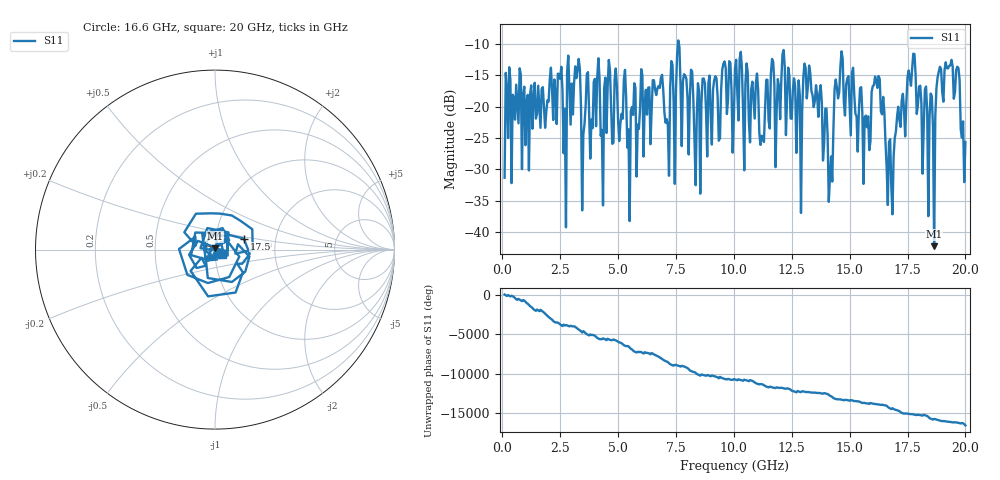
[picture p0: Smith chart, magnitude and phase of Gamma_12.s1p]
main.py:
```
"""
Author: Ziad (https://github.com/ZiadHatab)

Example on how to extract the switch terms of a VNA using 3-receiver VNA measurements.
"""

import os

# need to be installed via pip
import skrf as rf 
import numpy as np
import matplotlib.pyplot as plt

# my script (MultiCal.py and TUGmTRL must also be in same folder)
from mTRL import mTRL

class PlotSettings:
    # to make plots look better for publication
    # https://matplotlib.org/stable/tutorials/introductory/customizing.html
    def __init__(self, font_size=10, latex=False): 
        self.font_size = font_size 
        self.latex = latex
    def __enter__(self):
        plt.style.use('seaborn-v0_8-paper')
        # make svg output text and not curves
        plt.rcParams['svg.fonttype'] = 'none'
        # fontsize of the axes title
        plt.rc('axes', titlesize=self.font_size*1.2)
        # fontsize of the x and y labels
        plt.rc('axes', labelsize=self.font_size)
        # fontsize of the tick labels
        plt.rc('xtick', labelsize=self.font_size)
        plt.rc('ytick', labelsize=self.font_size)
        # legend fontsize
        plt.rc('legend', fontsize=self.font_size*1)
        # fontsize of the figure title
        plt.rc('figure', titlesize=self.font_size)
        # controls default text sizes
        plt.rc('text', usetex=self.latex)
        #plt.rc('font', size=self.font_size, family='serif', serif='Times New Roman')
        plt.rc('lines', linewidth=1.5)
    def __exit__(self, exception_type, exception_value, traceback):
        plt.style.use('default')

def compute_switch_terms(S):
    """
    S: is a list of skrf networks
    """
    Gamma21 = []  # forward switch term
    Gamma12 = []  # reverse switch term 
    for inx in range(len(S[0].frequency.f)): # iterate through all frequency points
        # create the system matrix
        H = np.array([ [-s.s[inx,0,0]*s.s[inx,0,1]/s.s[inx,1,0], -s.s[inx,1,1], 1, s.s[inx,0,1]/s.s[inx,1,0]] for s in S ])
        _,_,vh = np.linalg.svd(H)    # compute the SVD
        nullspace = vh[-1,:].conj()  # get the nullspace        
        Gamma21.append(nullspace[1]/nullspace[2])  # that is all
        Gamma12.append(nullspace[0]/nullspace[3])

    return np.array(Gamma21), np.array(Gamma12)

# main script
if __name__ == '__main__':
    # useful functions
    c0 = 299792458   # speed of light in vacuum (m/s)
    mag2db = lambda x: 20*np.log10(abs(x))
    db2mag = lambda x: 10**(x/20)
    gamma2ereff = lambda x,f: -(c0/2/np.pi/f*x)**2
    ereff2gamma = lambda x,f: 2*np.pi*f/c0*np.sqrt(-(x-1j*np.finfo(complex).eps))  # eps to ensure positive square-root
    gamma2dbcm  = lambda x: mag2db(np.exp(x.real*1e-2))  # losses dB/cm
    
    # load the measurements
    # files' path are reference to script's path
    path = os.path.dirname(os.path.realpath(__file__)) + '\\'
    s2p_path = path + 'Measurements\\'
    
    # switch terms directly measured from VNA (using the 4th receiver)
    Gamma_21_direct = rf.Network(s2p_path + 'Gamma_21.s1p')
    Gamma_12_direct = rf.Network(s2p_path + 'Gamma_12.s1p')
    
    # Calibration standards
    L1    = rf.Network(s2p_path + 'line_0_0mm.s2p')
    L2    = rf.Network(s2p_path + 'line_2_5mm.s2p')
    L3    = rf.Network(s2p_path + 'line_10_0mm.s2p')
    L4    = rf.Network(s2p_path + 'line_15_0mm.s2p')
    L5    = rf.Network(s2p_path + 'line_50_0mm.s2p')
    SHORT = rf.Network(s2p_path + 'short_0_0mm.s2p')
    
    DUT = rf.Network(s2p_path + 'step_line.s2p')
    f = DUT.frequency.f
    
    # switch terms indirectly measured
    stand1 = rf.Network(s2p_path + 'shunt_series.s2p')
    stand2 = rf.Network(s2p_path + 'series_shunt.s2p')
    myG21, myG12 = compute_switch_terms([stand1, stand2, L5])
    
    Gamma_21_indirect = rf.Network(s=myG21, frequency=L1.frequency)
    Gamma_12_indirect = rf.Network(s=myG12, frequency=L1.frequency)
    
    with PlotSettings(14):
        fig, axs = plt.subplots(2,2, figsize=(10,7))        
        fig.set_dpi(600)
        fig.tight_layout(pad=2.5)
        ax = axs[0,0]
        val = mag2db(Gamma_21_direct.s[:,0,0])
        ax.plot(f*1e-9, val, lw=2, marker='o', markevery=20, markersize=12,
                label='Direct measurement', linestyle='-')
        val = mag2db(Gamma_21_indirect.s[:,0,0])
        ax.plot(f*1e-9, val, lw=2, marker='X', markevery=20, markersize=10,
                label='Indirect measurement', linestyle='--')
        ax.set_xlabel('Frequency (GHz)')
        ax.set_xticks(np.arange(0,20.1,2))
        ax.set_xlim(0,14)
        ax.set_ylabel(r'$\Gamma_{21}$ (dB)')
        ax.set_yticks(np.arange(-40,0.1,10))
        ax.set_ylim(-40,0)
        ax.legend(loc='upper left', ncol=1, fontsize=12)
        
        ax = axs[0,1]
        val = mag2db(Gamma_12_direct.s[:,0,0])
        ax.plot(f*1e-9, val, lw=2, marker='o', markevery=20, markersize=12,
                label='Direct measurement', linestyle='-')
        val = mag2db(Gamma_12_indirect.s[:,0,0])
        ax.plot(f*1e-9, val, lw=2, marker='X', markevery=20, markersize=10,
                label='Indirect measurement', linestyle='--')
        ax.set_xlabel('Frequency (GHz)')
        ax.set_xticks(np.arange(0,20.1,2))
        ax.set_xlim(0,14)
        ax.set_ylabel(r'$\Gamma_{12}$ (dB)')
        ax.set_yticks(np.arange(-40,0.1,10))
        ax.set_ylim(-40,0)
        
        ax = axs[1,0]
        val = np.angle(Gamma_21_direct.s[:,0,0])/np.pi
        ax.plot(f*1e-9, val, lw=2, marker='o', markevery=20, markersize=12,
                label='Direct measurement', linestyle='-')
        val = np.angle(Gamma_21_indirect.s[:,0,0])/np.pi
        ax.plot(f*1e-9, val, lw=2, marker='X', markevery=20, markersize=10,
                label='Indirect measurement', linestyle='--')
        ax.set_xlabel('Frequency (GHz)')
        ax.set_xticks(np.arange(0,20.1,2))
        ax.set_xlim(0,14)
        ax.set_ylabel(r'$\Gamma_{21}$ (phase $\times \pi$ rad)')
        ax.set_ylim(-1,1)
        ax.set_yticks(np.arange(-1,1.1,0.4))
        
        ax = axs[1,1]
        val = np.angle(Gamma_12_direct.s[:,0,0])/np.pi
        ax.plot(f*1e-9, val, lw=2, marker='o', markevery=20, markersize=12,
                label='Direct measurement', linestyle='-')
        val = np.angle(Gamma_12_indirect.s[:,0,0])/np.pi
        ax.plot(f*1e-9, val, lw=2, marker='X', markevery=20, markersize=10,
                label='Indirect measurement', linestyle='--')
        ax.set_xlabel('Frequency (GHz)')
        ax.set_xticks(np.arange(0,20.1,2))
        ax.set_xlim(0,14)
        ax.set_ylabel(r'$\Gamma_{12}$ (phase $\times \pi$ rad)')
        ax.set_ylim(-1,1)
        ax.set_yticks(np.arange(-1,1.1,0.4))

    ## the calibration    
    lines = [L1, L2, L3, L4, L5]
    line_lengths = [0e-3, 2.5e-3, 10e-3, 15e-3, 50e-3]
    reflect = [SHORT]
    reflect_est = [-1]
    reflect_offset = [0]

    cal_no_switch = mTRL(lines=lines, line_lengths=line_lengths, reflect=reflect, 
               reflect_est=reflect_est, reflect_offset=reflect_offset, ereff_est=3.5+0j,
               switch_term=None
               )
    cal_no_switch.run_tug()
    dut_cal_no_switch = cal_no_switch.apply_cal(DUT)
    
    cal_direct_switch = mTRL(lines=lines, line_lengths=line_lengths, reflect=reflect, 
               reflect_est=reflect_est, reflect_offset=reflect_offset, ereff_est=3.5+0j,
               switch_term=[Gamma_21_direct, Gamma_12_direct]
               )
    cal_direct_switch.run_tug()
    dut_cal_direct_switch = cal_direct_switch.apply_cal(DUT)
    
    cal_indirect_switch = mTRL(lines=lines, line_lengths=line_lengths, reflect=reflect, 
               reflect_est=reflect_est, reflect_offset=reflect_offset, ereff_est=3.5+0j,
               switch_term=[Gamma_21_indirect, Gamma_12_indirect]
               )
    cal_indirect_switch.run_tug()
    dut_cal_indirect_switch = cal_indirect_switch.apply_cal(DUT)
    
    with PlotSettings(14):
        fig, axs = plt.subplots(2,2, figsize=(10,7))        
        fig.set_dpi(600)
        fig.tight_layout(pad=2.5)
        ax = axs[0,0]
        val = mag2db(dut_cal_no_switch.s[:,0,0])
        ax.plot(f*1e-9, val, lw=2, markevery=20, markersize=10,
                label='Switch terms not considered', linestyle='-', color='black')
        val = mag2db(dut_cal_direct_switch.s[:,0,0])
        ax.plot(f*1e-9, val, lw=2.5, marker='o', markevery=20, markersize=12,
                label='Directly measured swicth terms', linestyle='-')
        val = mag2db(dut_cal_indirect_switch.s[:,0,0])
        ax.plot(f*1e-9, val, lw=2.5, marker='X', markevery=20, markersize=10,
                label='Indirectly measured swicth terms', linestyle='--')
        ax.set_xlabel('Frequency (GHz)')
        ax.set_xticks(np.arange(0,20.1,2))
        ax.set_xlim(0,14)
        ax.set_ylabel('S11 (dB)')
        ax.set_yticks(np.arange(-40,0.1,10))
        ax.set_ylim(-40,0)
        
        ax = axs[0,1]
        val = mag2db(dut_cal_no_switch.s[:,1,0])
        ax.plot(f*1e-9, val, lw=2, markevery=20, markersize=10,
                label='Switch terms not considered', linestyle='-', color='black')
        val = mag2db(dut_cal_direct_switch.s[:,1,0])
        ax.plot(f*1e-9, val, lw=2.5, marker='o', markevery=20, markersize=12,
                label='Directly measured swicth terms', linestyle='-')
        val = mag2db(dut_cal_indirect_switch.s[:,1,0])
        ax.plot(f*1e-9, val, lw=2.5, marker='X', markevery=20, markersize=10,
                label='Indirectly measured swicth terms', linestyle='--')
        ax.set_xlabel('Frequency (GHz)')
        ax.set_xticks(np.arange(0,20.1,2))
        ax.set_xlim(0,14)
        ax.set_ylabel('S21 (dB)')
        ax.set_yticks(np.arange(-4,0.1,1))
        ax.set_ylim(-4,0)
        ax.legend(loc='lower right', ncol=1, fontsize=12)
        
        ax = axs[1,0]
        val = np.angle(dut_cal_no_switch.s[:,0,0])/np.pi
        ax.plot(f*1e-9, val, lw=2, markevery=20, markersize=10,
                label='Switch terms not considered', linestyle='-', color='black')
        val = np.angle(dut_cal_direct_switch.s[:,0,0])/np.pi
        ax.plot(f*1e-9, val, lw=2.5, marker='o', markevery=20, markersize=12,
                label='Directly measured swicth terms', linestyle='-')
        val = np.angle(dut_cal_indirect_switch.s[:,0,0])/np.pi
        ax.plot(f*1e-9, val, lw=2.5, marker='X', markevery=20, markersize=10,
                label='Indirectly measured swicth terms', linestyle='--')
        ax.set_xlabel('Frequency (GHz)')
        ax.set_xticks(np.arange(0,20.1,2))
        ax.set_xlim(0,14)
        ax.set_ylabel(r'S11 (phase $\times \pi$ rad)')
        ax.set_ylim(-1,1)
        ax.set_yticks(np.arange(-1,1.1,0.4))
        
        ax = axs[1,1]
        val = np.angle(dut_cal_no_switch.s[:,1,0])/np.pi
        ax.plot(f*1e-9, val, lw=2, markevery=20, markersize=10,
                label='Switch terms not considered', linestyle='-', color='black')
        val = np.angle(dut_cal_direct_switch.s[:,1,0])/np.pi
        ax.plot(f*1e-9, val, lw=2.5, marker='o', markevery=20, markersize=12,
                label='Directly measured swicth terms', linestyle='-')
        val = np.angle(dut_cal_indirect_switch.s[:,1,0])/np.pi
        ax.plot(f*1e-9, val, lw=2.5, marker='X', markevery=20, markersize=10,
                label='Indirectly measured swicth terms', linestyle='--')
        ax.set_xlabel('Frequency (GHz)')
        ax.set_xticks(np.arange(0,20.1,2))
        ax.set_xlim(0,14)
        ax.set_ylabel(r'S21 (phase $\times \pi$ rad)')
        ax.set_ylim(-1,1)
        ax.set_yticks(np.arange(-1,1.1,0.4))
        
        
    plt.show()
    
# EOF
```
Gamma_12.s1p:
#  HZ  S  RI  R  1.00
! Rohde & Schwarz ZVA67 4Ports - Version 4.11 - 1305.7002k04 SN: 101032
! Date: 2023-06-01 16:39:02
! Measurement: a1d2/b1d2sam
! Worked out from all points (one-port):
!   399 points, 100 MHz to 20 GHz, reference 1 ohm
!   lowest |S11| = -42.3 dB at 18.65 GHz (marker M1), VSWR 1.02, Z = 1 + j0.0154 ohm
!   |S11| at or under -10 dB: start of sweep to 7.587 GHz; 7.628 GHz to end of sweep
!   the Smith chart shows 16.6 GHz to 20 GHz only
!   S11 on the Smith chart (normalised r, x): 16.6 GHz: 1.05, -0.05; 17.5 GHz: 1.37, +0.17; 20 GHz: 1.09, -0.07
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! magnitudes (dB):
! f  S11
! 100 MHz  -31.3
! 5.5 GHz  -38.3
! 6.75 GHz  -16.7
! 8.55 GHz  -33.9
! 12.15 GHz  -10.9
! 12.9 GHz  -37.0
! 13.4 GHz  -18.2
! 16.6 GHz  -29.7
! 17.5 GHz  -15.3
! 18.4 GHz  -37.5
! 18.55 GHz  -18.3
! 18.65 GHz  -42.3
! 18.9 GHz  -13.6
! 20 GHz  -25.6
